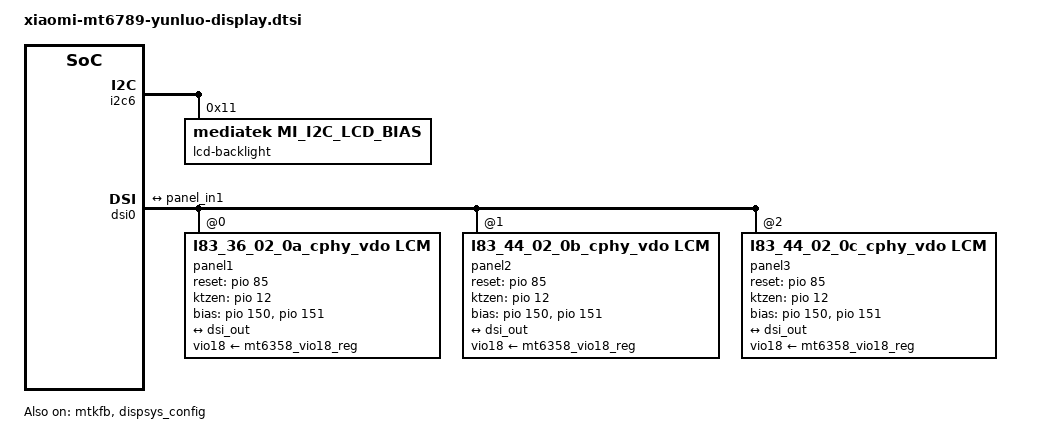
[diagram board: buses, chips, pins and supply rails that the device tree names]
&mtk_leds {
	compatible = "mediatek,disp-leds";
	backlight {
		label = "lcd-backlight";
		led_mode = <4>;
		gate_enable = <1>;
		pwm_config = <0 1 0 0 0>;
		max-brightness = <2047>;
		led-bits = <11>;
		trans-bits = <11>;
		default-state = "half";
	};
};

&i2c6 {
	gate_ic: gate_ic@11 {
		compatible = "mediatek,MI_I2C_LCD_BIAS";
		label = "lcd-backlight";
		pwm_config = <0 1 0 0 0>;
		max-brightness = <2047>;
		reg = <0x11>;
		led_mode = <4>;
		led-bits = <11>;
		id = <6>;
		status = "okay";
	};
};

&pio {
	mtkfb_pins_lcd_bias_enp1: lcd_bias_enp1_gpio {
		pins_cmd_dat {
			pinmux = <PINMUX_GPIO150__FUNC_GPIO150>;
			slew-rate = <1>;
			output-high;
		};
	};
	mtkfb_pins_lcd_bias_enp0: lcd_bias_enp0_gpio {
		pins_cmd_dat {
			pinmux = <PINMUX_GPIO150__FUNC_GPIO150>;
			slew-rate = <1>;
			output-low;
		};
	};

	mtkfb_pins_lcd_bias_enn1: lcd_bias_enn1_gpio {
		pins_cmd_dat {
			pinmux = <PINMUX_GPIO151__FUNC_GPIO151>;
			slew-rate = <1>;
			output-high;
		};
	};
	mtkfb_pins_lcd_bias_enn0: lcd_bias_enn0_gpio {
		pins_cmd_dat {
			pinmux = <PINMUX_GPIO151__FUNC_GPIO151>;
			slew-rate = <1>;
			output-low;
		};
	};

	mtkfb_pins_lcm_rst_out1_gpio: lcm_rst_out1_gpio {
		pins_cmd_dat {
			pinmux = <PINMUX_GPIO85__FUNC_GPIO85>;
			slew-rate = <1>;
			output-high;
		};
	};
	mtkfb_pins_lcm_rst_out0_gpio: lcm_rst_out0_gpio {
		pins_cmd_dat {
			pinmux = <PINMUX_GPIO85__FUNC_GPIO85>;
			slew-rate = <1>;
			output-low;
		};
	};

	mtkfb_pins_lcm_dsi_te: lcm_dsi_te {
		pins_cmd_dat {
			pinmux = <PINMUX_GPIO83__FUNC_DSI_TE>;
		};
	};

	mtkfb_pins_lcm_ktzen_en1: lcm_ktzen_en1_gpio {
		pins_cmd_dat {
			pinmux = <PINMUX_GPIO12__FUNC_GPIO12>;
			slew-rate = <1>;
			output-high;
		};
	};
	mtkfb_pins_lcm_ktzen_en0: lcm_ktzen_en0_gpio {
		pins_cmd_dat {
			pinmux = <PINMUX_GPIO12__FUNC_GPIO12>;
			slew-rate = <1>;
			output-low;
		};
	};

	mtkfb_pins_lcm_cam_en1: lcm_cam_en1_gpio {
		pins_cmd_dat {
			pinmux = <PINMUX_GPIO153__FUNC_GPIO153>;
			slew-rate = <1>;
			output-high;
		};
	};
	mtkfb_pins_lcm_cam_en0: lcm_cam_en0_gpio {
		pins_cmd_dat {
			pinmux = <PINMUX_GPIO153__FUNC_GPIO153>;
			slew-rate = <1>;
			output-low;
		};
	};
};
&mtkfb {
	pinctrl-names = "lcd_bias_enp1_gpio", "lcd_bias_enp0_gpio",
		"lcd_bias_enn1_gpio", "lcd_bias_enn0_gpio",
		"lcm_rst_out1_gpio", "lcm_rst_out0_gpio",
		"mode_te_te", "lcm_ktzen_en1_gpio", "lcm_ktzen_en0_gpio",
		"lcm_cam_en1_gpio", "lcm_cam_en0_gpio" ;
	pinctrl-0 = <&mtkfb_pins_lcd_bias_enp1>;
	pinctrl-1 = <&mtkfb_pins_lcd_bias_enp0>;
	pinctrl-2 = <&mtkfb_pins_lcd_bias_enn1>;
	pinctrl-3 = <&mtkfb_pins_lcd_bias_enn0>;
	pinctrl-4 = <&mtkfb_pins_lcm_rst_out1_gpio>;
	pinctrl-5 = <&mtkfb_pins_lcm_rst_out0_gpio>;
	pinctrl-6 = <&mtkfb_pins_lcm_dsi_te>;
	pinctrl-7 = <&mtkfb_pins_lcm_ktzen_en1>;
	pinctrl-8 = <&mtkfb_pins_lcm_ktzen_en0>;
	pinctrl-9 = <&mtkfb_pins_lcm_cam_en1>;
	pinctrl-10 = <&mtkfb_pins_lcm_cam_en0>;
	status = "okay";
};

&dispsys_config {
	pinctrl-names =
		"lcm_rst_out1_gpio", "lcm_rst_out0_gpio",
		"mode_te_te", "lcm_ktzen_en1_gpio", "lcm_ktzen_en0_gpio",
		"lcm_cam_en1_gpio", "lcm_cam_en0_gpio" ;
	pinctrl-0 = <&mtkfb_pins_lcm_rst_out1_gpio>;
	pinctrl-1 = <&mtkfb_pins_lcm_rst_out0_gpio>;
	pinctrl-2 = <&mtkfb_pins_lcm_dsi_te>;
	pinctrl-3 = <&mtkfb_pins_lcm_ktzen_en1>;
	pinctrl-4 = <&mtkfb_pins_lcm_ktzen_en0>;
	pinctrl-5 = <&mtkfb_pins_lcm_cam_en1>;
	pinctrl-6 = <&mtkfb_pins_lcm_cam_en0>;
	status = "okay";
};

&dsi0 {
	status = "okay";
	#address-cells = <1>;
	#size-cells = <0>;
	panel1@0 {
		compatible = "l83_36_02_0a_cphy_vdo,lcm";
		reg = <0>;
		reset-gpios = <&pio 85 0>;
		vio18-supply = <&mt6358_vio18_reg>;
		ktzen-gpios = <&pio 12 0>;//ktz8866 EN
		//GPIO150 ENP; GPIO151 ENN
		bias-gpios = <&pio 150 0>,
			<&pio 151 0>;
		pinctrl-names = "default";
		port {
			panel_in1: endpoint {
				remote-endpoint = <&dsi_out>;
			};
		};
	};
	panel2@0 {
		compatible = "l83_44_02_0b_cphy_vdo,lcm";
		reg = <1>;
		reset-gpios = <&pio 85 0>;
		vio18-supply = <&mt6358_vio18_reg>;
		ktzen-gpios = <&pio 12 0>;//ktz8866 EN
		//GPIO150 ENP; GPIO151 ENN
		bias-gpios = <&pio 150 0>,
			<&pio 151 0>;
		pinctrl-names = "default";
		port {
			panel_in2: endpoint {
				remote-endpoint = <&dsi_out>;
			};
		};
	};
	panel3@0 {
		compatible = "l83_44_02_0c_cphy_vdo,lcm";
		reg = <2>;
		reset-gpios = <&pio 85 0>;
		vio18-supply = <&mt6358_vio18_reg>;
		ktzen-gpios = <&pio 12 0>;//ktz8866 EN
		//GPIO150 ENP; GPIO151 ENN
		bias-gpios = <&pio 150 0>,
			<&pio 151 0>;
		pinctrl-names = "default";
		port {
			panel_in3: endpoint {
				remote-endpoint = <&dsi_out>;
			};
		};
	};
	ports {
		port {
			dsi_out: endpoint {
				remote-endpoint = <&panel_in1>;
			};
		};
	};
};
